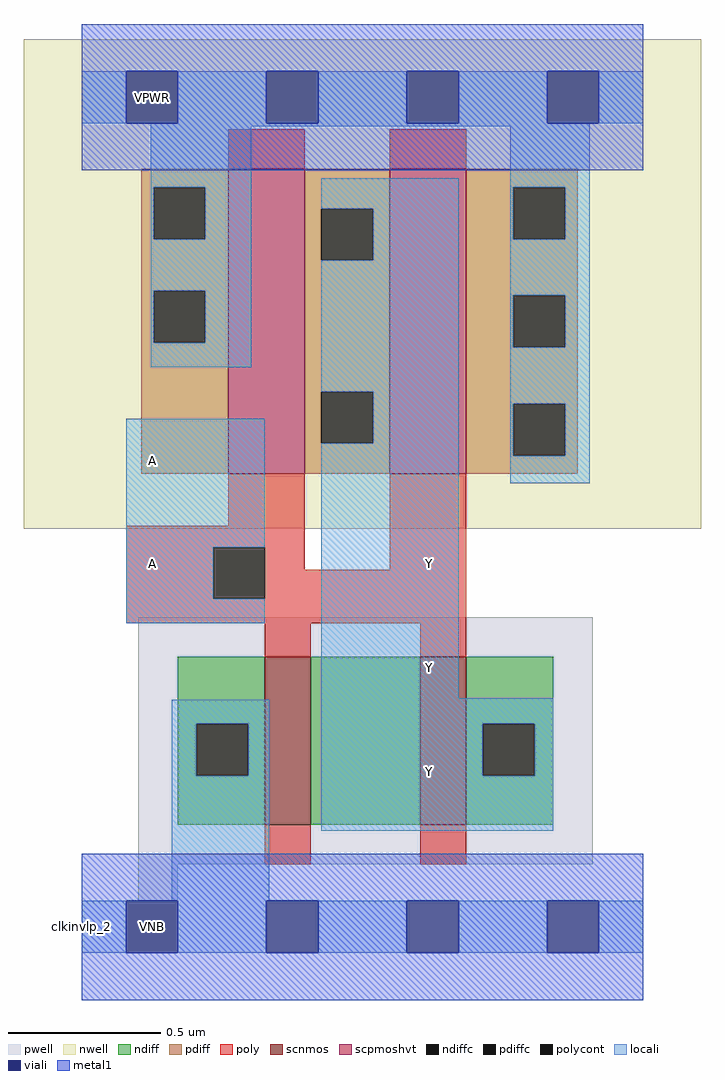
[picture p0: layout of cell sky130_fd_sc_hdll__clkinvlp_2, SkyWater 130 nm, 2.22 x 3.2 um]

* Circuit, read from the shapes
.subckt sky130_fd_sc_hdll__clkinvlp_2 A VGND VNB VPB VPWR Y
XM1 n1 A VGND VNB sky130_fd_pr__nfet_01v8 w=0.55 l=0.15
XM2 Y A n1 VNB sky130_fd_pr__nfet_01v8 w=0.55 l=0.15
XM3 Y A VPWR VPB sky130_fd_pr__pfet_01v8_hvt w=1 l=0.25 m=2
.ends

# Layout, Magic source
magic
tech sky130A
magscale 1 2
<< nwell >>
rect -38 261 406 582
<< pwell >>
rect 37 41 335 203
rect 37 17 63 41
rect 29 -17 63 17
<< scnmos >>
rect 120 67 150 177
rect 222 67 252 177
<< scpmoshvt >>
rect 96 297 146 497
rect 202 297 252 497
<< ndiff >>
rect 63 133 120 177
rect 63 99 75 133
rect 109 99 120 133
rect 63 67 120 99
rect 150 67 222 177
rect 252 133 309 177
rect 252 99 263 133
rect 297 99 309 133
rect 252 67 309 99
<< pdiff >>
rect 39 485 96 497
rect 39 451 47 485
rect 81 451 96 485
rect 39 417 96 451
rect 39 383 47 417
rect 81 383 96 417
rect 39 297 96 383
rect 146 471 202 497
rect 146 437 157 471
rect 191 437 202 471
rect 146 351 202 437
rect 146 317 157 351
rect 191 317 202 351
rect 146 297 202 317
rect 252 485 325 497
rect 252 451 283 485
rect 317 451 325 485
rect 252 414 325 451
rect 252 380 283 414
rect 317 380 325 414
rect 252 343 325 380
rect 252 309 283 343
rect 317 309 325 343
rect 252 297 325 309
<< ndiffc >>
rect 75 99 109 133
rect 263 99 297 133
<< pdiffc >>
rect 47 451 81 485
rect 47 383 81 417
rect 157 437 191 471
rect 157 317 191 351
rect 283 451 317 485
rect 283 380 317 414
rect 283 309 317 343
<< poly >>
rect 96 497 146 523
rect 202 497 252 523
rect 96 263 146 297
rect 29 249 146 263
rect 29 215 86 249
rect 120 234 146 249
rect 202 234 252 297
rect 120 215 252 234
rect 29 199 252 215
rect 120 177 150 199
rect 222 177 252 199
rect 120 41 150 67
rect 222 41 252 67
<< polycont >>
rect 86 215 120 249
<< locali >>
rect 0 527 29 561
rect 63 527 121 561
rect 155 527 213 561
rect 247 527 305 561
rect 339 527 368 561
rect 45 525 333 527
rect 45 485 111 525
rect 45 451 47 485
rect 81 451 111 485
rect 45 417 111 451
rect 45 383 47 417
rect 81 383 111 417
rect 45 367 111 383
rect 157 471 247 491
rect 191 437 247 471
rect 157 351 247 437
rect 29 249 120 333
rect 29 215 86 249
rect 29 199 120 215
rect 191 317 247 351
rect 157 150 247 317
rect 281 485 333 525
rect 281 451 283 485
rect 317 451 333 485
rect 281 414 333 451
rect 281 380 283 414
rect 317 380 333 414
rect 281 343 333 380
rect 281 309 283 343
rect 317 309 333 343
rect 281 291 333 309
rect 59 133 123 149
rect 59 99 75 133
rect 109 99 123 133
rect 59 17 123 99
rect 157 133 309 150
rect 157 99 263 133
rect 297 99 309 133
rect 157 63 309 99
rect 0 -17 29 17
rect 63 -17 121 17
rect 155 -17 213 17
rect 247 -17 305 17
rect 339 -17 368 17
<< viali >>
rect 29 527 63 561
rect 121 527 155 561
rect 213 527 247 561
rect 305 527 339 561
rect 29 -17 63 17
rect 121 -17 155 17
rect 213 -17 247 17
rect 305 -17 339 17
<< metal1 >>
rect 0 561 368 592
rect 0 527 29 561
rect 63 527 121 561
rect 155 527 213 561
rect 247 527 305 561
rect 339 527 368 561
rect 0 496 368 527
rect 0 17 368 48
rect 0 -17 29 17
rect 63 -17 121 17
rect 155 -17 213 17
rect 247 -17 305 17
rect 339 -17 368 17
rect 0 -48 368 -17
<< labels >>
flabel pwell s 29 -17 63 17 0 FreeSans 200 0 0 0 VNB
port 3 nsew ground bidirectional
flabel metal1 s 29 527 63 561 0 FreeSans 200 0 0 0 VPWR
port 5 nsew power bidirectional
flabel metal1 s 29 -17 63 17 0 FreeSans 200 0 0 0 VGND
port 2 nsew ground bidirectional
flabel nwell s 29 527 63 561 0 FreeSans 200 0 0 0 VPB
port 4 nsew power bidirectional
flabel locali s 211 153 245 187 0 FreeSans 200 0 0 0 Y
port 6 nsew signal output
flabel locali s 211 221 245 255 0 FreeSans 200 0 0 0 Y
port 6 nsew signal output
flabel locali s 29 289 63 323 0 FreeSans 200 0 0 0 A
port 1 nsew signal input
flabel locali s 211 85 245 119 0 FreeSans 200 0 0 0 Y
port 6 nsew signal output
flabel locali s 29 221 63 255 0 FreeSans 200 0 0 0 A
port 1 nsew signal input
rlabel comment s 0 0 0 0 4 clkinvlp_2
<< properties >>
string LEFsite unithd
string LEFclass CORE
string FIXED_BBOX 0 0 368 544
string GDS_FILE $PDKPATH/libs.ref/sky130_fd_sc_hdll/gds/sky130_fd_sc_hdll.gds
string LEFsymmetry X Y R90
string GDS_END 52408
string GDS_START 48802
string LEFproperties maskLayoutSubType "abstract" prCellType "standard" originalViewName "layout"
<< end >>
